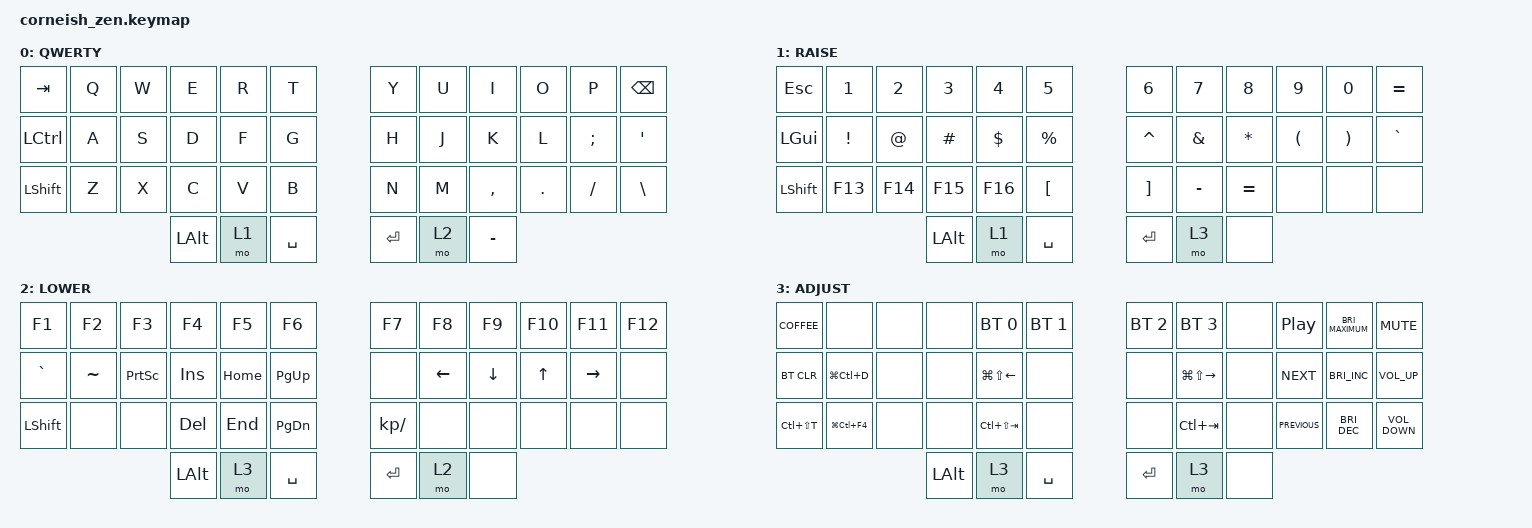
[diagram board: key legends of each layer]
#include <behaviors.dtsi>
#include <dt-bindings/zmk/bt.h>
#include <dt-bindings/zmk/keys.h>

/ {
    chosen {
        zmk,matrix_transform = &default_transform;

        //zmk,matrix_transform = &five_column_transform;
    };
};

/ {
    combos {
        compatible = "zmk,combos";

        combo_adjust_layer {
            bindings = <&mo 3>;
            key-positions = <37 40>;
        };
    };

    keymap {
        compatible = "zmk,keymap";

        default_layer {
            label = "QWERTY";

            // -----------------------------------------------------------------------------------------
            // |  TAB |  Q  |  W  |  E  |  R  |  T  |   |  Y  |  U   |  I  |  O  |  P  | BKSP |
            // | CTRL |  A  |  S  |  D  |  F  |  G  |   |  H  |  J   |  K  |  L  |  ;  |  '   |
            // | SHFT |  Z  |  X  |  C  |  V  |  B  |   |  N  |  M   |  ,  |  .  |  /  | ESC  |
            //                    | GUI | LWR | SPC |   | ENT | RSE  | ALT |

            bindings = <
&kp TAB    &kp Q  &kp W  &kp E     &kp R  &kp T        &kp Y    &kp U  &kp I      &kp O    &kp P     &kp BSPC
&kp LCTRL  &kp A  &kp S  &kp D     &kp F  &kp G        &kp H    &kp J  &kp K      &kp L    &kp SEMI  &kp SQT
&kp LSHFT  &kp Z  &kp X  &kp C     &kp V  &kp B        &kp N    &kp M  &kp COMMA  &kp DOT  &kp FSLH  &kp BACKSLASH
                         &kp LALT  &mo 1  &kp SPACE    &kp RET  &mo 2  &kp MINUS
            >;
        };

        lower_layer {
            label = "RAISE";

            // -----------------------------------------------------------------------------------------
            // |  TAB |  1  |  2  |  3  |  4  |  5  |   |  6  |  7  |  8  |  9  |  0  | BKSP |
            // | BTCLR| BT1 | BT2 | BT3 | BT4 | BT5 |   | LFT | DWN |  UP | RGT |     |      |
            // | SHFT |     |     |     |     |     |   |     |     |     |     |     |      |
            //                    | GUI |     | SPC |   | ENT |     | ALT |

            bindings = <
&kp ESC    &kp N1    &kp N2   &kp N3    &kp N4    &kp N5       &kp N6             &kp N7     &kp N8     &kp N9    &kp N0    &kp EQUAL
&kp LGUI   &kp EXCL  &kp AT   &kp HASH  &kp DLLR  &kp PRCNT    &kp CARET          &kp AMPS   &kp STAR   &kp LPAR  &kp RPAR  &kp GRAVE
&kp LSHFT  &kp F13   &kp F14  &kp F15   &kp F16   &kp LBKT     &kp RIGHT_BRACKET  &kp MINUS  &kp EQUAL  &none     &none     &none
                              &kp LALT  &mo 1     &kp SPACE    &kp ENTER          &mo 3      &none
            >;
        };

        raise_layer {
            label = "LOWER";

            // -----------------------------------------------------------------------------------------
            // |  TAB |  !  |  @  |  #  |  $  |  %  |   |  ^  |  &  |  *  |  (  |  )  | BKSP |
            // | CTRL |     |     |     |     |     |   |  -  |  =  |  [  |  ]  |  \  |  `   |
            // | SHFT |     |     |     |     |     |   |  _  |  +  |  {  |  }  | "|" |  ~   |
            //                    | GUI |     | SPC |   | ENT |     | ALT |

            bindings = <
&kp F1     &kp F2     &kp F3           &kp F4      &kp F5    &kp F6       &kp F7        &kp F8    &kp F9    &kp F10  &kp F11    &kp F12
&kp GRAVE  &kp TILDE  &kp PRINTSCREEN  &kp INS     &kp HOME  &kp PG_UP    &none         &kp LEFT  &kp DOWN  &kp UP   &kp RIGHT  &none
&kp LSHFT  &none      &none            &kp DELETE  &kp END   &kp PG_DN    &kp KP_SLASH  &none     &none     &none    &none      &none
                                       &kp LALT    &mo 3     &kp SPACE    &kp ENTER     &mo 2     &none
            >;
        };

        adjust_layer {
            label = "ADJUST";

            // -----------------------------------------------------------------------------------------
            // |  TAB |  Q  |  W  |  E  |  R  |  T  |   |  Y  |  U   |  I  |  O  |  P  | BKSP |
            // | CTRL |  A  |  S  |  D  |  F  |  G  |   |  H  |  J   |  K  |  L  |  ;  |  '   |
            // | SHFT |  Z  |  X  |  C  |  V  |  B  |   |  N  |  M   |  ,  |  .  |  /  | ESC  |
            //                    | GUI | LWR | SPC |   | ENT | RSE  | ALT |

            bindings = <
&kp K_COFFEE   &none           &none  &none     &bt BT_SEL 0      &bt BT_SEL 1    &bt BT_SEL 2  &bt BT_SEL 3       &none  &kp C_PLAY_PAUSE  &kp C_BRIGHTNESS_MAXIMUM  &kp C_MUTE
&bt BT_CLR     &kp LG(LC(D))   &none  &none     &kp LG(LS(LEFT))  &none           &none         &kp LG(LS(RIGHT))  &none  &kp C_NEXT        &kp C_BRIGHTNESS_INC      &kp C_VOLUME_UP
&kp LC(LS(T))  &kp LG(LC(F4))  &none  &none     &kp LC(LS(TAB))   &none           &none         &kp LC(TAB)        &none  &kp C_PREVIOUS    &kp C_BRIGHTNESS_DEC      &kp C_VOLUME_DOWN
                                      &kp LALT  &mo 3             &kp SPACE       &kp RET       &mo 3              &none
            >;
        };
    };
};
